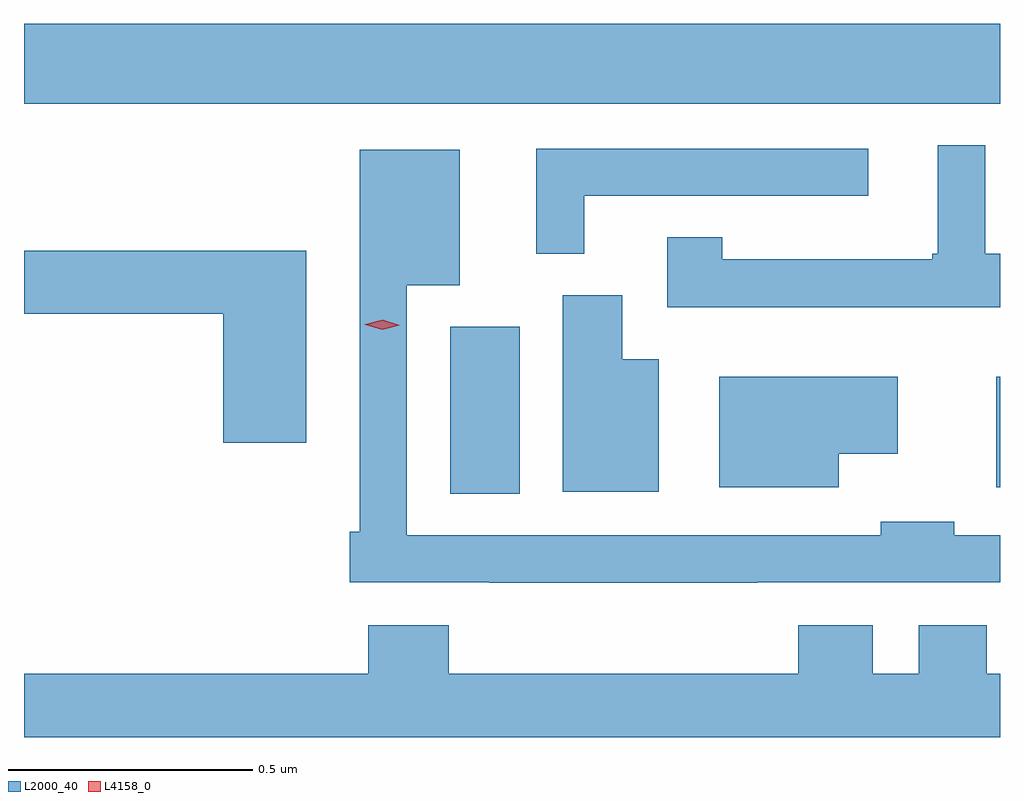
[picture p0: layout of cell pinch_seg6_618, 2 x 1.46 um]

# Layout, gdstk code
import gdstk
lib = gdstk.Library(unit=1e-6, precision=1e-09)
def R(c, l, rs):  # rectangles x0, y0, x1, y1
    for r in rs: c.add(gdstk.rectangle(r[:2], r[2:], *l))
def P(c, l, *ps):  # polygons
    for p in ps: c.add(gdstk.Polygon(p, *l))
L2000_40 = (2000, 40)
L4158_0 = (4158, 0)

pinch_seg6_618 = lib.new_cell('pinch_seg6_618')
R(pinch_seg6_618, L2000_40, [(397.565,966.517,397.708,966.859), (398.684,966.53,398.692,966.757), (396.692,967.316,398.692,967.48)])
P(pinch_seg6_618, L2000_40, [(398.692,967.009),(398.662,967.009),(398.662,967.231),(398.564,967.231),(398.564,967.009),(398.553,967.009),(398.553,966.997),(398.123,966.997),(398.123,967.043),(398.01,967.043),(398.01,966.899),(398.692,966.899)],
  [(397.84,967.128),(398.422,967.128),(398.422,967.224),(397.742,967.224),(397.742,967.009),(397.84,967.009)],
  [(398.195,966.336),(398.692,966.336),(398.692,966.432),(398.598,966.432),(398.598,966.46),(398.448,966.46),(398.448,966.432),(397.476,966.432),(397.476,966.944),(397.585,966.944),(397.585,967.222),(397.38,967.222),(397.38,966.439),(397.36,966.439),(397.36,966.336),(397.645,966.336),(397.645,966.335),(398.195,966.335)],
  [(397.27,967.015),(396.692,967.015),(396.692,966.886),(397.1,966.886),(397.1,966.621),(397.27,966.621)],
  [(397.993,966.793),(397.918,966.793),(397.918,966.924),(397.796,966.924),(397.796,966.521),(397.993,966.521)],
  [(398.362,966.599),(398.482,966.599),(398.482,966.757),(398.117,966.757),(398.117,966.53),(398.362,966.53)],
  [(396.692,966.018),(398.692,966.018),(398.692,966.148),(398.665,966.148),(398.665,966.247),(398.525,966.247),(398.525,966.148),(398.431,966.148),(398.431,966.247),(398.279,966.247),(398.279,966.148),(397.562,966.148),(397.562,966.247),(397.397,966.247),(397.397,966.148),(396.692,966.148)])
P(pinch_seg6_618, L4158_0, [(397.426,966.853),(397.391,966.863),(397.39,966.864),(397.391,966.864),(397.427,966.873),(397.462,966.862),(397.462,966.862),(397.462,966.862)])

lib.write_gds('pinch_seg6_618.gds')
